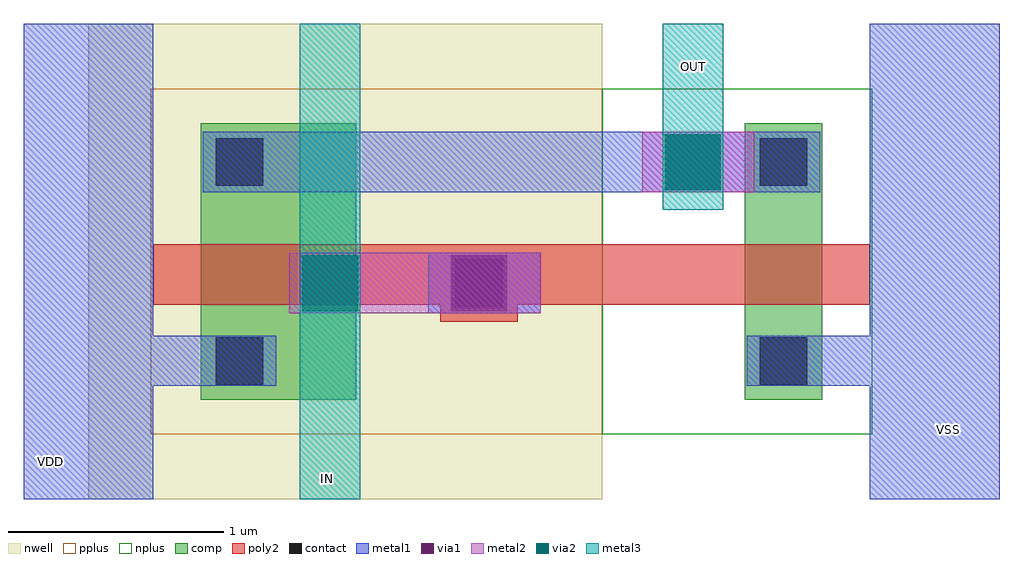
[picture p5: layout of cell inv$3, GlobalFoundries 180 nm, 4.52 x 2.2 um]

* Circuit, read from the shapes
.subckt inv$3 IN OUT VDD VSS
XM1 OUT IN VSS VSUBS nfet_03v3 w=0.36u l=0.28u
XM2 OUT IN VDD n1 pfet_03v3 w=0.72u l=0.28u
.ends

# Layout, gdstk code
import gdstk
lib = gdstk.Library(unit=1e-6, precision=5e-09)
def R(c, l, rs):  # rectangles x0, y0, x1, y1
    for r in rs: c.add(gdstk.rectangle(r[:2], r[2:], *l))
nwell = (21, 0)
comp = (22, 0)
poly2 = (30, 0)
pplus = (31, 0)
nplus = (32, 0)
contact = (33, 0)
metal1 = (34, 0)
via1 = (35, 0)
metal2 = (36, 0)
via2 = (38, 0)
metal3 = (42, 0)

inv_3 = lib.new_cell('inv$3')
R(inv_3, nwell, [(-1.12,3.79,1.26,5.99)])
R(inv_3, comp, [(-0.6,4.25,0.12,5.53), (1.92,4.25,2.28,5.53)])
R(inv_3, poly2, [(0.51,4.61,0.87,4.97), (-0.82,4.69,2.5,4.97)])
R(inv_3, pplus, [(-0.83,4.09,1.26,5.69)])
R(inv_3, nplus, [(1.26,4.09,2.51,5.69)])
R(inv_3, contact, [(-0.53,4.32,-0.31,4.54), (1.99,4.32,2.21,4.54), (0.58,4.68,0.8,4.9), (-0.53,5.24,-0.31,5.46), (1.99,5.24,2.21,5.46)])
R(inv_3, metal1, [(-1.42,3.79,-0.82,5.99), (2.5,3.79,3.1,5.99), (-0.82,4.315,-0.25,4.545), (1.93,4.315,2.5,4.545), (0.455,4.65,0.975,4.93), (-0.59,5.21,2.27,5.49)])
R(inv_3, via1, [(0.56,4.66,0.82,4.92), (1.55,5.22,1.81,5.48)])
R(inv_3, metal2, [(-0.19,4.65,0.975,4.93), (1.445,5.21,1.965,5.49)])
R(inv_3, via2, [(-0.13,4.66,0.13,4.92), (1.55,5.22,1.81,5.48)])
R(inv_3, metal3, [(-0.14,3.79,0.14,5.99), (1.54,5.13,1.82,5.99)])
inv_3.add(gdstk.Label('VDD', (-1.295,3.965), layer=34, texttype=10))
inv_3.add(gdstk.Label('VSS', (2.865,4.11), layer=34, texttype=10))
inv_3.add(gdstk.Label('IN', (-0.01,3.885), layer=42, texttype=10))
inv_3.add(gdstk.Label('OUT', (1.685,5.795), layer=42, texttype=10))

lib.write_gds('inv_3.gds')
